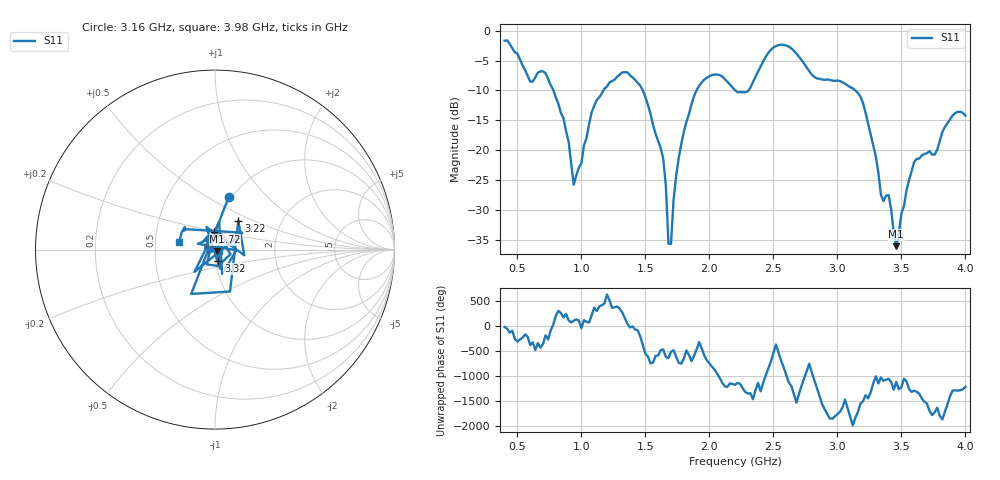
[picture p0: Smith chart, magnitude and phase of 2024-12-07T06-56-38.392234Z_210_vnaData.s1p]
!Created with skrf (http://scikit-rf.org).
# Hz S RI R 50.0
!freq ReS11 ImS11
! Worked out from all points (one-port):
!   181 points, 400 MHz to 4 GHz, reference 50 ohm
!   lowest |S11| = -36.1 dB at 3.46 GHz (marker M1), VSWR 1.03, Z = 51.2 - j1.05 ohm
!   |S11| at or under -10 dB: 781.7 MHz to 1.172 GHz (390.5 MHz wide, 40 % of centre); 1.48 GHz to 1.899 GHz (419.3 MHz wide, 24.8 % of centre); 3.141 GHz to end of sweep (the widest 3 of 4)
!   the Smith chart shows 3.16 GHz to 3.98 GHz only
!   S11 on the Smith chart (normalised r, x): 3.16 GHz: 0.97, +0.62; 3.22 GHz: 1.22, +0.41; 3.32 GHz: 1.03, -0.13; 3.72 GHz: 0.97, +0.19; 3.98 GHz: 0.66, +0.06
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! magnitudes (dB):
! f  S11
! 400 MHz  -1.7
! 600 MHz  -8.5
! 720 MHz  -7.1
! 860 MHz  -14.7
! 940 MHz  -25.8
! 1.1 GHz  -12.6
! 1.3 GHz  -7.3
! 1.46 GHz  -9.2
! 1.62 GHz  -19.7
! 1.66 GHz  -26.1
! 1.68 GHz  -35.6
! 1.7 GHz  -35.7
! 1.76 GHz  -21.3
! 1.94 GHz  -8.7
! 2.2 GHz  -10.0
! 2.5 GHz  -2.8
! 2.66 GHz  -3.4
! 3.1 GHz  -9.4
! 3.16 GHz  -10.4
! 3.22 GHz  -13.7
! 3.32 GHz  -23.8
! 3.36 GHz  -28.5
! 3.4 GHz  -27.5
! 3.46 GHz  -36.1
! 3.56 GHz  -25.0
! 3.72 GHz  -20.2
! 3.98 GHz  -13.8
! 4 GHz  -14.2
